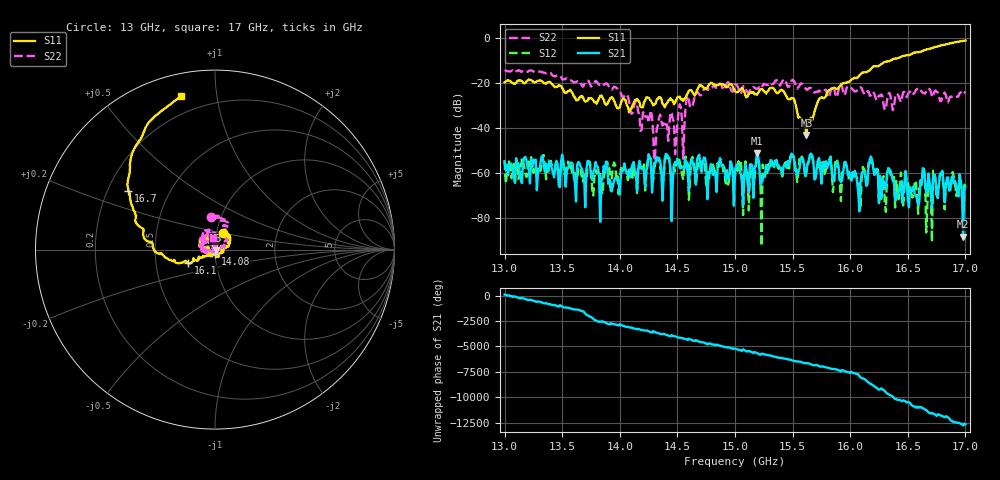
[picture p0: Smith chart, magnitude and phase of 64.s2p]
!Keysight Technologies,P9374A,MY57211807,A.19.30.04
!Date: Friday, May 01, 2026 14:23:15
!Correction: S11(C  2-Port  )
!S21(C  2-Port  )
!S12(C  2-Port  )
!S22(C  2-Port  )
!S2P File: Measurements: S11, S21, S12, S22:
# Hz S  RI  R 50
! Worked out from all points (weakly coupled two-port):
!   401 points, 13 GHz to 17 GHz, reference 50 ohm
!   highest |S21| = -51.14 dB at 15.19 GHz (marker M1); lowest = -88.2 dB at 16.98 GHz (marker M2)
!   lowest |S11| = -43.0 dB at 15.62 GHz (marker M3), VSWR 1.01, Z = 50.6 - j0.354 ohm
!   |S11| at or under -10 dB: start of sweep to 16.35 GHz
!   |S22| runs from -57.0 to -14.3 dB; largest |S21 - S12| = 0.0018
!   S11 on the Smith chart (normalised r, x): 13 GHz: 1.07, +0.20; 14.08 GHz: 1.00, -0.04; 16.1 GHz: 0.73, -0.11; 16.7 GHz: 0.29, +0.28; 17 GHz: 0.11, +0.80
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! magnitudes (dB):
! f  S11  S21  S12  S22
! 13 GHz  -19.7  -54.7  -54.7  -14.7
! 13.67 GHz  -25.8  -57.9  -62.0  -21.0
! 14.08 GHz  -33.0  -59.0  -58.5  -28.0
! 14.26 GHz  -27.3  -53.2  -53.0  -34.7
! 14.31 GHz  -29.2  -55.7  -53.7  -49.0
! 14.34 GHz  -26.3  -53.1  -55.1  -35.7
! 14.48 GHz  -28.7  -55.1  -59.2  -51.6
! 14.67 GHz  -23.3  -53.9  -60.0  -24.0
! 15 GHz  -23.6  -58.5  -61.6  -20.6
! 15.19 GHz  -25.2  -51.1  -53.2  -22.6
! 15.24 GHz  -22.9  -62.4  -56.2  -21.1
! 15.41 GHz  -23.2  -60.6  -62.4  -19.3
! 15.62 GHz  -43.0  -59.3  -59.4  -23.0
! 15.67 GHz  -36.7  -52.2  -52.4  -22.8
! 16.1 GHz  -15.6  -60.1  -61.7  -22.4
! 16.19 GHz  -13.1  -54.4  -54.5  -24.2
! 16.29 GHz  -10.9  -63.5  -61.4  -29.7
! 16.34 GHz  -10.3  -58.3  -58.5  -24.4
! 16.41 GHz  -9.1  -69.2  -70.1  -25.0
! 16.7 GHz  -4.7  -69.1  -66.2  -23.8
! 16.98 GHz  -1.4  -88.2  -76.6  -25.1
! 17 GHz  -1.1  -66.0  -64.8  -23.9
